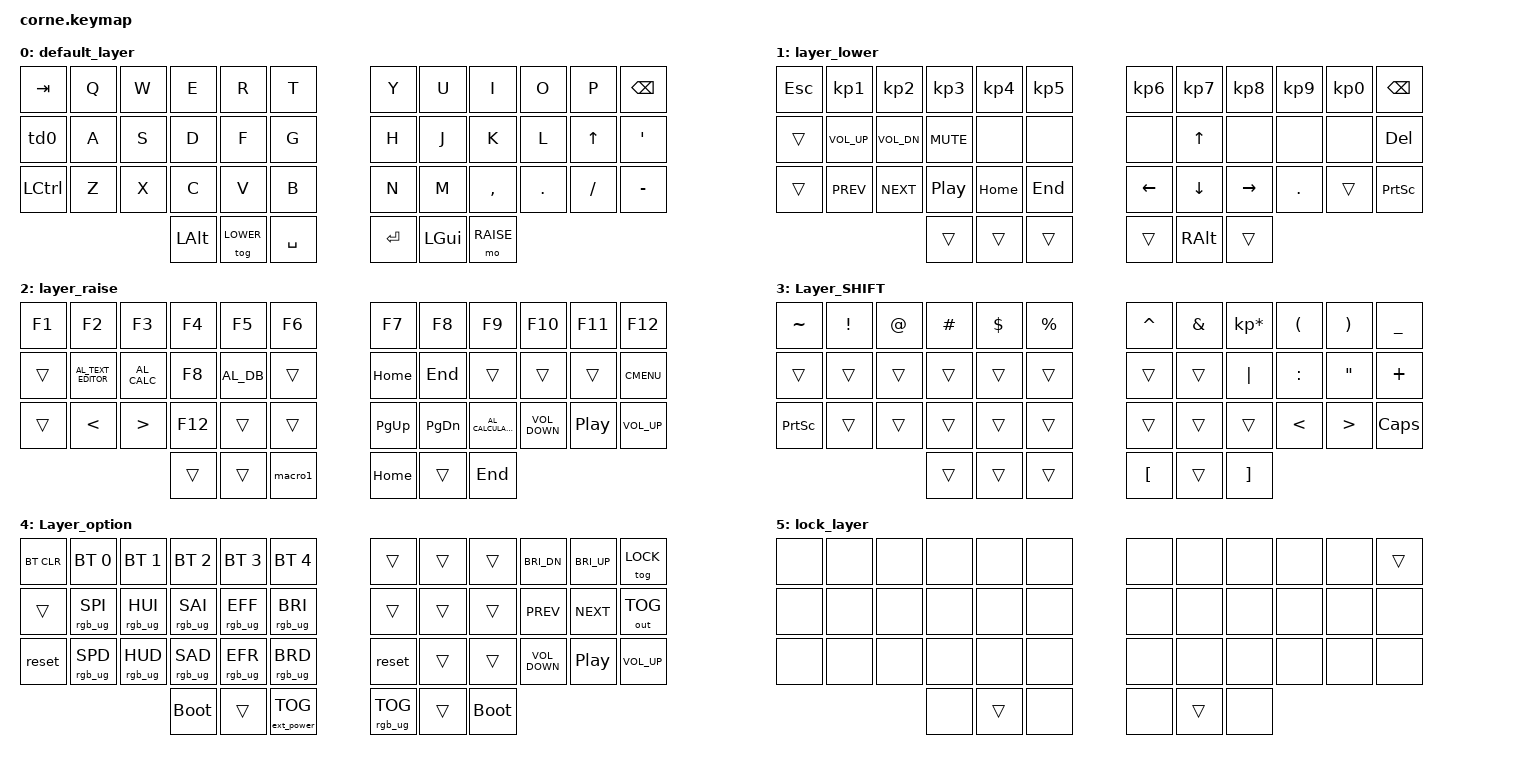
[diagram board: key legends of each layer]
#include <behaviors.dtsi>
#include <dt-bindings/zmk/keys.h>
#include <dt-bindings/zmk/bt.h>
#include <dt-bindings/zmk/rgb.h>
#include <dt-bindings/zmk/backlight.h>
#include <dt-bindings/zmk/ext_power.h>
#include <dt-bindings/zmk/outputs.h>
#include <dt-bindings/zmk/mouse.h>

#define LOWER 1
#define RAISE 2
#define SHIFT 3
#define OPTION 4
#define LOCK 5

/*
&mt es una abreviatura de "mod-tap". Este comportamiento permite que una tecla funcione como un modificador 
(como Shift, Ctrl, Alt, etc.) cuando se mantiene presionada, y como una tecla normal cuando se pulsa y se suelta 
rápidamente. Por ejemplo, &mt LSFT A hará que una tecla funcione como "A" cuando se pulsa y se suelta rápidamente, 
y como Shift izquierdo cuando se mantiene presionada.

&kt es una abreviatura de "key tap". Este comportamiento permite que una tecla funcione como una tecla normal cuando 
se pulsa y se suelta rápidamente, pero también puede tener un comportamiento diferente si se mantiene presionada. Sin 
embargo, a diferencia de &mt, &kt no está limitado a los modificadores y puede asignar cualquier comportamiento a la 
acción de mantener presionada.

Por lo tanto, la principal diferencia entre &mt y &kt es que &mt está limitado a los modificadores para la acción de 
mantener presionada, mientras que &kt puede asignar cualquier comportamiento a la acción de mantener presionada.
*/

&mmv {    
        time-to-max-speed-ms = <1000>;
        acceleration-exponent=<1>;
};
&mwh {    
        time-to-max-speed-ms = <2000>;
        acceleration-exponent=<0>;
}; 
/ {
    behaviors {
        hm: homerow_mods {
            compatible = "zmk,behavior-hold-tap";
            label = "homerow mods";
            #binding-cells = <2>;
            tapping_term_ms = <200>;
            flavor = "tap-preferred";
            bindings =
                <&kp>,
                <&kp>;
        };
        td0: tap_dance_CAPSLOCK {
            compatible = "zmk,behavior-tap-dance";
            #binding-cells = <0>;
            tapping-term-ms = <200>;
            bindings = <&kp LSHFT>, <&kp CAPSLOCK>;
        };
    };
    
    conditional_layers {
        compatible = "zmk,conditional-layers";

        tri_layer {
            if-layers = <LOWER RAISE>;
            then-layer = <OPTION>;
        };
    };
	
    macros {
        macro1: macro1 {
            compatible = "zmk,behavior-macro";
            label = "alt_f4";
            #binding-cells = <0>;
            bindings = <&kp LALT &kp F4>;
        };
    };
    
    keymap {
        compatible = "zmk,keymap";

        default_layer {
            bindings = <
                &kp TAB     &kp Q       &kp W       &kp E       &kp R       &kp T               &kp Y       &kp U       &kp I       &kp O       &kp P       &kp BACKSPACE
                &td0        &kp A       &kp S       &kp D       &kp F       &kp G               &kp H       &kp J       &kp K       &kp L       &kp UP      &kp SQT
                &kp LCTRL   &kp Z       &kp X       &kp C       &kp V       &kp B               &kp N       &kp M       &kp COMMA   &kp DOT     &kp SLASH   &kp MINUS
                                                    &kp LALT    &tog LOWER  &kp SPACE           &kp ENTER   &kp LGUI    &mo RAISE
            >;
        };
		// number arrows and media
        layer_lower {
            bindings = <
                &kp ESC &kp KP_N1       &kp KP_N2      &kp KP_N3           &kp KP_N4   &kp KP_N5                   &kp KP_N6   &kp KP_N7   &kp KP_N8    &kp KP_N9  &kp KP_N0   &kp BACKSPACE
                &trans  &kp C_VOL_UP    &kp K_VOL_DN   &kp C_MUTE          &none       &none                       &none       &kp UP      &none        &none      &none       &kp DELETE
                &trans  &kp C_PREV      &kp C_NEXT     &kp C_PLAY_PAUSE    &kp HOME    &kp END                     &kp LEFT    &kp DOWN    &kp RIGHT    &kp DOT    &trans      &kp PRINTSCREEN
                                                       &trans              &trans      &trans                      &trans      &kp RALT    &trans 
            >;
        };

        layer_raise {
            bindings = <
                &kp F1  &kp F2                  &kp F3          &kp F4  &kp F5      &kp F6          &kp F7      &kp F8      &kp F9              &kp F10            &kp F11   &kp F12
                &trans  &kp C_AL_TEXT_EDITOR    &kp C_AL_CALC   &kp F8  &kp C_AL_DB &trans          &kp HOME    &kp END     &trans              &trans            &trans            &kp K_CMENU
                &trans  &kp LT                  &kp GT          &kp F12 &trans      &trans          &kp PG_UP   &kp PG_DN   &kp C_AL_CALCULATOR &kp C_VOLUME_DOWN &kp C_PLAY_PAUSE  &kp C_VOLUME_UP
                                                                &trans  &trans      &macro1          &kp HOME    &trans      &kp END
            >;
        };

        Layer_SHIFT {
            bindings = <
                &kp TILDE        &kp EXCL        &kp AT         &kp HASH       &kp DLLR        &kp PRCNT       &kp CARET       &kp AMPS       &kp KP_MULTIPLY       &kp LPAR       &kp RPAR       &kp UNDERSCORE
                &trans           &trans          &trans         &trans         &trans          &trans          &trans          &trans         &kp PIPE               &kp COLON      &kp DOUBLE_QUOTES  &kp PLUS
                &kp PRINTSCREEN  &trans          &trans         &trans         &trans          &trans          &trans          &trans         &trans                &kp LESS_THAN  &kp GREATER_THAN   &kp CAPSLOCK
                                            &trans           &trans          &trans         &kp LBKT        &trans             &kp RBKT
            >;
        };


        Layer_option {
            bindings = <
                &bt BT_CLR  &bt BT_SEL 0    &bt BT_SEL 1    &bt BT_SEL 2    &bt BT_SEL 3    &bt BT_SEL 4                &trans          &trans  &trans      &kp C_BRI_DN        &kp C_BRI_UP     &tog LOCK
                &trans      &rgb_ug RGB_SPI &rgb_ug RGB_HUI &rgb_ug RGB_SAI &rgb_ug RGB_EFF &rgb_ug RGB_BRI             &trans          &trans  &trans      &kp C_PREV          &kp C_NEXT       &out OUT_TOG
                &reset      &rgb_ug RGB_SPD &rgb_ug RGB_HUD &rgb_ug RGB_SAD &rgb_ug RGB_EFR &rgb_ug RGB_BRD             &reset          &trans  &trans      &kp C_VOLUME_DOWN   &kp C_PLAY_PAUSE &kp C_VOLUME_UP
                                                            &bootloader     &trans          &ext_power EP_TOG           &rgb_ug RGB_TOG &trans  &bootloader 
            >;
        };
        // 3 phim Lower+Raise+Backspace bat/tat che do khoa phim
        lock_layer {
            bindings = <
                &none      &none      &none      &none      &none      &none                            &none      &none      &none      &none      &none      &trans
                &none      &none      &none      &none      &none      &none                            &none      &none      &none      &none      &none      &none
                &none      &none      &none      &none      &none      &none                            &none      &none      &none      &none      &none      &none
                                                 &none      &trans     &none                            &none      &trans     &none
            >;
        };
    };
};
